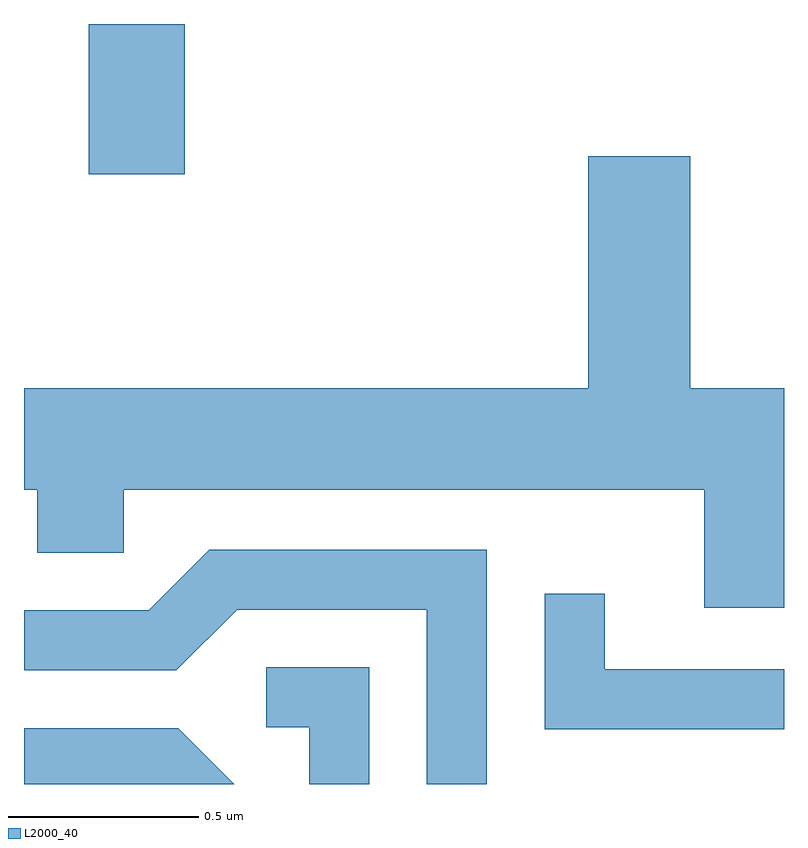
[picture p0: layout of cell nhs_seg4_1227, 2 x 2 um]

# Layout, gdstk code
import gdstk
lib = gdstk.Library(unit=1e-6, precision=1e-09)
def R(c, l, rs):  # rectangles x0, y0, x1, y1
    for r in rs: c.add(gdstk.rectangle(r[:2], r[2:], *l))
def P(c, l, *ps):  # polygons
    for p in ps: c.add(gdstk.Polygon(p, *l))
L2000_40 = (2000, 40)

nhs_seg4_1227 = lib.new_cell('nhs_seg4_1227')
R(nhs_seg4_1227, L2000_40, [(193.781,1386.586,194.034,1386.982)])
P(nhs_seg4_1227, L2000_40, [(195.611,1386.024),(195.364,1386.024),(195.364,1386.634),(195.096,1386.634),(195.096,1386.024),(193.611,1386.024),(193.611,1385.756),(193.646,1385.756),(193.646,1385.591),(193.874,1385.591),(193.874,1385.756),(195.401,1385.756),(195.401,1385.446),(195.611,1385.446)],
  [(194.829,1385.599),(194.099,1385.599),(193.939,1385.439),(193.611,1385.439),(193.611,1385.281),(194.012,1385.281),(194.172,1385.441),(194.671,1385.441),(194.671,1384.982),(194.829,1384.982)],
  [(195.611,1385.284),(195.139,1385.284),(195.139,1385.483),(194.981,1385.483),(194.981,1385.126),(195.611,1385.126)],
  [(194.519,1385.289),(194.248,1385.289),(194.248,1385.131),(194.361,1385.131),(194.361,1384.982),(194.519,1384.982)],
  [(194.017,1385.129),(193.611,1385.129),(193.611,1384.982),(194.164,1384.982)])

lib.write_gds('nhs_seg4_1227.gds')
